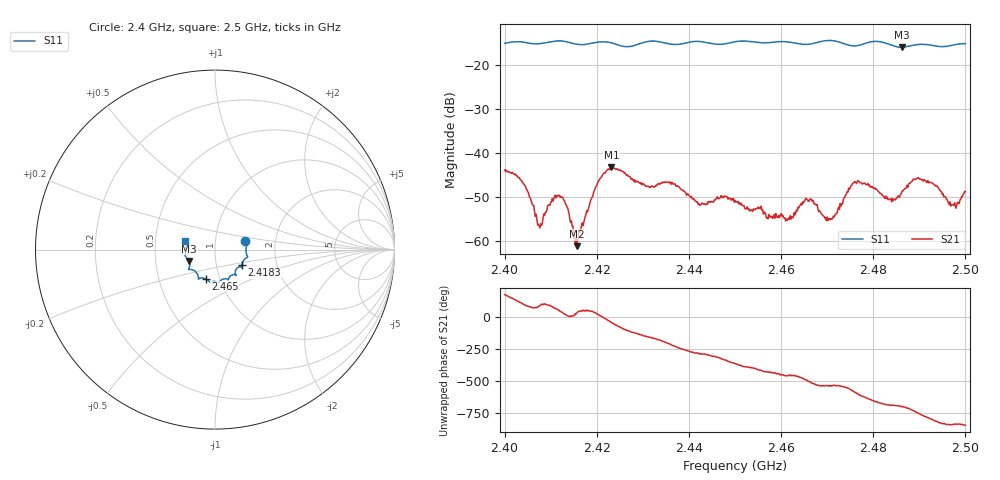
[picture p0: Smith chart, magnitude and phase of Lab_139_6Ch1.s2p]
# Hz S RI R 50
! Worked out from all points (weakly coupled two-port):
!   601 points, 2.4 GHz to 2.5 GHz, reference 50 ohm
!   highest |S21| = -43.24 dB at 2.4232 GHz (marker M1); lowest = -61.1 dB at 2.4157 GHz (marker M2)
!   lowest |S11| = -16.0 dB at 2.4862 GHz (marker M3), VSWR 1.37, Z = 37.1 - j4.81 ohm
!   |S11| at or under -10 dB: start of sweep to end of sweep
!   S12 and S22 are empty: the file has one direction only
!   S11 on the Smith chart (normalised r, x): 2.4 GHz: 1.40, +0.13; 2.4183 GHz: 1.33, -0.24; 2.465 GHz: 0.86, -0.29; 2.5 GHz: 0.71, +0.07
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2.4e9  0.1689 0.0456  -0.00637 0.000319  0 0  0 0
2.404e9  0.1789 0.0269  -0.000987 0.00448  0 0  0 0
2.407667e9  0.1733 -0.0117  -9.71e-06 0.00142  0 0  0 0
2.4105e9  0.1802 -0.0374  0.000643 0.00279  0 0  0 0
2.412333e9  0.1812 -0.0429  0.00238 0.00208  0 0  0 0
2.415667e9  0.1608 -0.0581  0.000733 0.000496  0 0  0 0
2.416667e9  0.1548 -0.0683  0.00101 0.00109  0 0  0 0
2.418333e9  0.1499 -0.0868  0.00163 0.00192  0 0  0 0
2.423167e9  0.1481 -0.0976  0.00519 -0.00452  0 0  0 0
2.433333e9  0.1167 -0.1414  -0.00449 -0.000397  0 0  0 0
2.4425e9  0.0731 -0.1681  0.000731 0.00251  0 0  0 0
2.45e9  0.0251 -0.1807  0.00292 -0.000159  0 0  0 0
2.461333e9  -0.031 -0.1792  -0.000234 -0.00171  0 0  0 0
2.465e9  -0.0527 -0.1622  -0.00159 -0.00237  0 0  0 0
2.466667e9  -0.0714 -0.1576  -0.00271 -0.00125  0 0  0 0
2.470667e9  -0.0924 -0.1645  -0.00175 -0.000262  0 0  0 0
2.476333e9  -0.1142 -0.1177  -0.00282 0.00354  0 0  0 0
2.483333e9  -0.142 -0.0959  0.00244 0.00173  0 0  0 0
2.486167e9  -0.1446 -0.0632  0.00333 0.00135  0 0  0 0
2.489833e9  -0.1661 -0.0373  0.0046 -0.0026  0 0  0 0
2.4975e9  -0.165 0.0318  -0.00111 -0.00232  0 0  0 0
2.5e9  -0.1668 0.0473  -0.0021 -0.003  0 0  0 0
